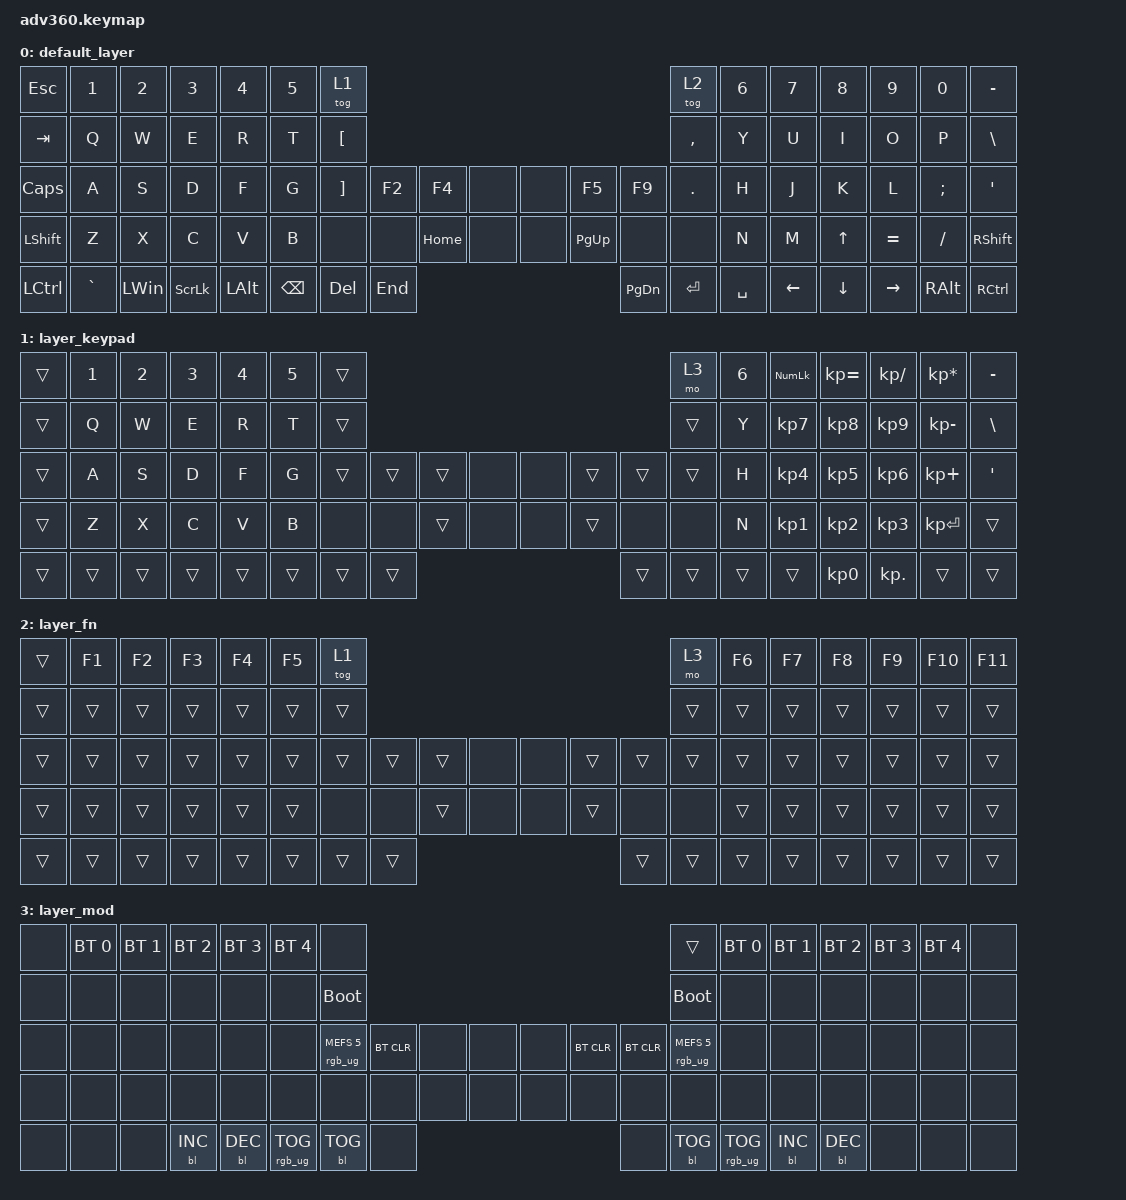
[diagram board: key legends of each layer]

/*
 * Copyright (c) 2020 The ZMK Contributors
 *
 * SPDX-License-Identifier: MIT
 */


/* THIS FILE WAS GENERATED!
 *
 * This file was generated automatically. You may or may not want to
 * edit it directly.
 */

#include <behaviors.dtsi>
#include <dt-bindings/zmk/keys.h>
#include <dt-bindings/zmk/bt.h>
#include <dt-bindings/zmk/rgb.h>
#include <dt-bindings/zmk/backlight.h>

/ {
  behaviors {
    #include "macros.dtsi"

    hm: homerow_mods {
        compatible = "zmk,behavior-hold-tap";
        label = "HOMEROW_MODS";
        #binding-cells = <2>;
        tapping-term-ms = <200>;
        quick_tap_ms = <175>;
        flavor = "tap-preferred";
        bindings = <&kp>, <&kp>;
    };
  };

    keymap {
        compatible = "zmk,keymap";


        default_layer {
            bindings = <
   &kp ESC     &kp N1        &kp N2    &kp N3        &kp N4  &kp N5                       &tog 1                                                               &tog 2  &kp N6    &kp N7    &kp N8     &kp N9         &kp N0  &kp MINUS
   &kp TAB      &kp Q         &kp W     &kp E         &kp R   &kp T             &kp LEFT_BRACKET                                                            &kp COMMA   &kp Y     &kp U     &kp I      &kp O          &kp P   &kp BSLH
  &kp CAPS      &kp A         &kp S     &kp D         &kp F   &kp G            &kp RIGHT_BRACKET   &kp F2    &kp F4   &none   &none     &kp F5     &kp F9  &kp PERIOD   &kp H     &kp J     &kp K      &kp L       &kp SEMI    &kp SQT
 &kp LSHFT      &kp Z         &kp X     &kp C         &kp V   &kp B                        &none    &none  &kp HOME   &none   &none  &kp PG_UP      &none       &none   &kp N     &kp M    &kp UP  &kp EQUAL       &kp FSLH  &kp RSHFT
 &kp LCTRL  &kp GRAVE  &kp LEFT_WIN  &kp SLCK  &kp LEFT_ALT                             &kp BSPC  &kp DEL   &kp END                  &kp PG_DN  &kp ENTER   &kp SPACE          &kp LEFT  &kp DOWN  &kp RIGHT  &kp RIGHT_ALT  &kp RCTRL
            >;
        };

        layer_keypad {
            bindings = <
 &trans  &kp N1  &kp N2  &kp N3  &kp N4  &kp N5            &trans                                                   &mo 3  &kp N6  &kp KP_NUM  &kp KP_EQUAL  &kp KP_DIVIDE  &kp KP_MULTIPLY  &kp MINUS
 &trans   &kp Q   &kp W   &kp E   &kp R   &kp T            &trans                                                  &trans   &kp Y   &kp KP_N7     &kp KP_N8      &kp KP_N9     &kp KP_MINUS   &kp BSLH
 &trans   &kp A   &kp S   &kp D   &kp F   &kp G            &trans  &trans  &trans   &none   &none  &trans  &trans  &trans   &kp H   &kp KP_N4     &kp KP_N5      &kp KP_N6      &kp KP_PLUS    &kp SQT
 &trans   &kp Z   &kp X   &kp C   &kp V   &kp B             &none   &none  &trans   &none   &none  &trans   &none   &none   &kp N   &kp KP_N1     &kp KP_N2      &kp KP_N3     &kp KP_ENTER     &trans
 &trans  &trans  &trans  &trans  &trans                    &trans  &trans  &trans                  &trans  &trans  &trans              &trans     &kp KP_N0     &kp KP_DOT           &trans     &trans
            >;
        };

        layer_fn {
            bindings = <
 &trans  &kp F1  &kp F2  &kp F3  &kp F4  &kp F5            &tog 1                                                   &mo 3  &kp F6  &kp F7  &kp F8  &kp F9  &kp F10  &kp F11
 &trans  &trans  &trans  &trans  &trans  &trans            &trans                                                  &trans  &trans  &trans  &trans  &trans   &trans   &trans
 &trans  &trans  &trans  &trans  &trans  &trans            &trans  &trans  &trans   &none   &none  &trans  &trans  &trans  &trans  &trans  &trans  &trans   &trans   &trans
 &trans  &trans  &trans  &trans  &trans  &trans             &none   &none  &trans   &none   &none  &trans   &none   &none  &trans  &trans  &trans  &trans   &trans   &trans
 &trans  &trans  &trans  &trans  &trans                    &trans  &trans  &trans                  &trans  &trans  &trans          &trans  &trans  &trans   &trans   &trans
            >;
        };

        layer_mod {
            bindings = <
  &none  &bt BT_SEL 0  &bt BT_SEL 1  &bt BT_SEL 2  &bt BT_SEL 3  &bt BT_SEL 4                             &none                                                                              &trans  &bt BT_SEL 0  &bt BT_SEL 1  &bt BT_SEL 2  &bt BT_SEL 3  &bt BT_SEL 4   &none
  &none         &none         &none         &none         &none         &none                       &bootloader                                                                         &bootloader         &none         &none         &none         &none         &none   &none
  &none         &none         &none         &none         &none         &none            &rgb_ug RGB_MEFS_CMD 5  &bt BT_CLR   &none   &none   &none  &bt BT_CLR  &bt BT_CLR  &rgb_ug RGB_MEFS_CMD 5         &none         &none         &none         &none         &none   &none
  &none         &none         &none         &none         &none         &none                             &none       &none   &none   &none   &none       &none       &none                   &none         &none         &none         &none         &none         &none   &none
  &none         &none         &none    &bl BL_INC    &bl BL_DEC                                 &rgb_ug RGB_TOG  &bl BL_TOG   &none                       &none  &bl BL_TOG         &rgb_ug RGB_TOG                  &bl BL_INC    &bl BL_DEC         &none         &none   &none
            >;
        };

    };
};
